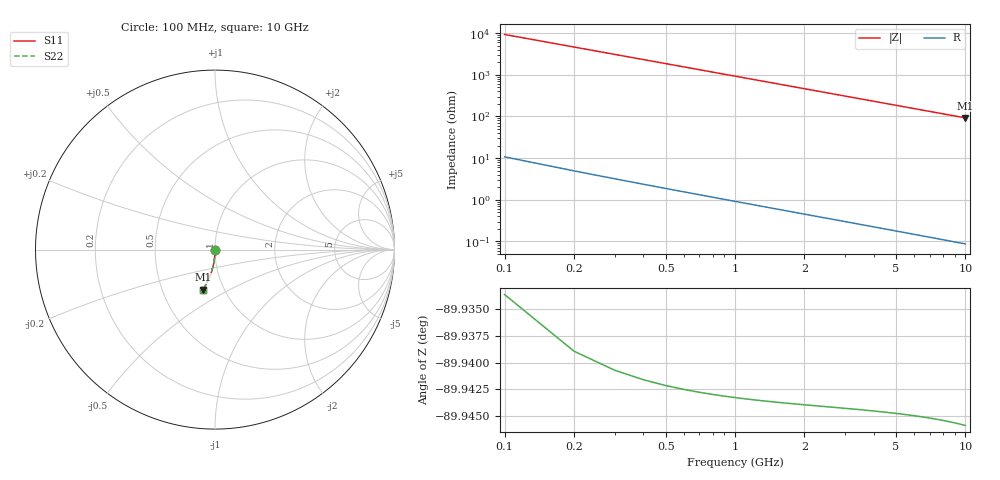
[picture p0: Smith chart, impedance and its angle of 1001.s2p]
# Hz S RI R 50.00
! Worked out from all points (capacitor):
!   100 points, 100 MHz to 10 GHz, reference 50 ohm
!   read as one part in shunt: C = 172 fF near 100 MHz
!   lowest |Z| = 92.3 ohm at 10 GHz (marker M1)
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1e8  0.000121 -0.0024  0.9999 -0.003  0.9999 -0.003  0.000121 -0.0024
2e8  9.77e-05 -0.0048  0.9998 -0.006  0.9998 -0.006  9.77e-05 -0.0048
3e8  5.97e-05 -0.0072  0.9998 -0.009  0.9998 -0.009  5.97e-05 -0.0072
4e8  7.26e-06 -0.0096  0.9997 -0.012  0.9997 -0.012  7.26e-06 -0.0096
5e8  -5.97e-05 -0.012  0.9997 -0.015  0.9997 -0.015  -5.97e-05 -0.012
6e8  -0.000141 -0.0144  0.9996 -0.018  0.9996 -0.018  -0.000141 -0.0144
7e8  -0.000237 -0.0168  0.9995 -0.021  0.9995 -0.021  -0.000237 -0.0168
8e8  -0.000347 -0.0192  0.9994 -0.024  0.9994 -0.024  -0.000347 -0.0192
9e8  -0.000472 -0.0216  0.9992 -0.027  0.9992 -0.027  -0.000472 -0.0216
1.1e9  -0.000764 -0.0264  0.9989 -0.033  0.9989 -0.033  -0.000764 -0.0264
1.4e9  -0.00131 -0.0335  0.9984 -0.042  0.9984 -0.042  -0.00131 -0.0335
1.8e9  -0.00224 -0.0431  0.9974 -0.0539  0.9974 -0.0539  -0.00224 -0.0431
2.1e9  -0.00309 -0.0502  0.9966 -0.0629  0.9966 -0.0629  -0.00309 -0.0502
2.5e9  -0.00442 -0.0597  0.9952 -0.0748  0.9952 -0.0748  -0.00442 -0.0597
2.9e9  -0.00597 -0.0692  0.9936 -0.0866  0.9936 -0.0866  -0.00597 -0.0692
3.4e9  -0.00823 -0.081  0.9913 -0.1014  0.9913 -0.1014  -0.00823 -0.081
4.2e9  -0.0126 -0.0996  0.9868 -0.1249  0.9868 -0.1249  -0.0126 -0.0996
5.1e9  -0.0185 -0.1203  0.9807 -0.151  0.9807 -0.151  -0.0185 -0.1203
5.9e9  -0.0247 -0.1383  0.9744 -0.1738  0.9744 -0.1738  -0.0247 -0.1383
6.7e9  -0.0317 -0.1559  0.9672 -0.1963  0.9672 -0.1963  -0.0317 -0.1559
8.4e9  -0.0491 -0.1919  0.9493 -0.2427  0.9493 -0.2427  -0.0491 -0.1919
1e10  -0.0685 -0.2237  0.9293 -0.2843  0.9293 -0.2843  -0.0685 -0.2237
